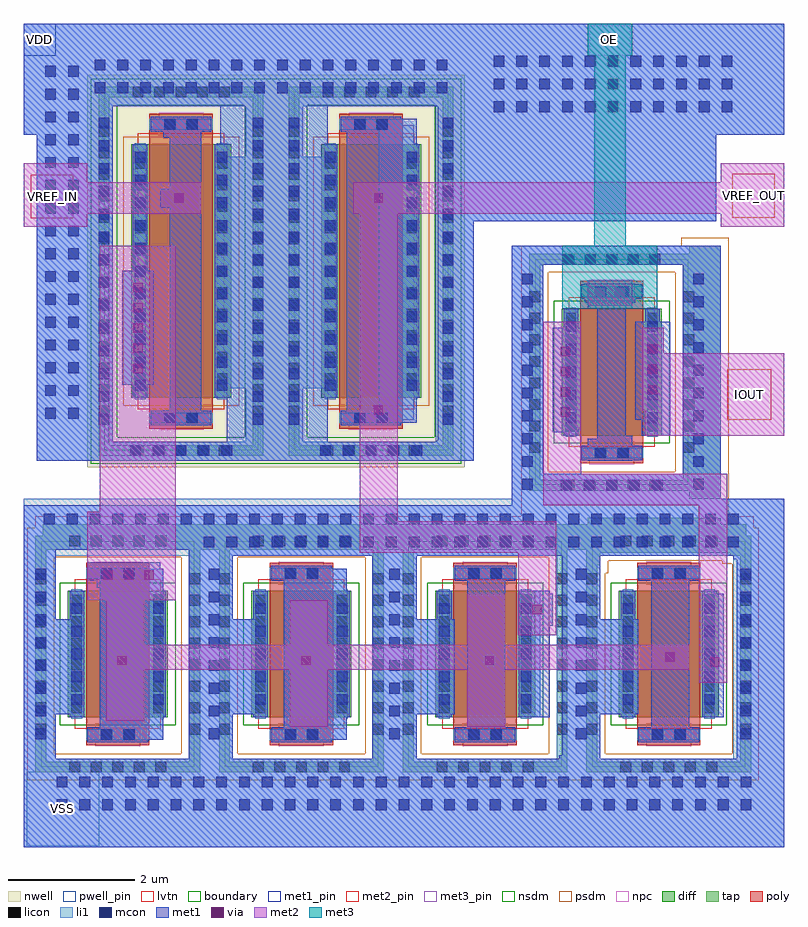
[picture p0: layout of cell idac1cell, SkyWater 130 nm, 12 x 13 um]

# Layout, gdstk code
import gdstk
lib = gdstk.Library(unit=1e-6, precision=1e-09)
def R(c, l, rs):  # rectangles x0, y0, x1, y1
    for r in rs: c.add(gdstk.rectangle(r[:2], r[2:], *l))
def A(c, l, x, y, w, h, nx, ny, dx, dy):  # array of equal rectangles
    R(c, l, [(x+i*dx, y+j*dy, x+i*dx+w, y+j*dy+h) for i in range(nx) for j in range(ny)])
nwell = (64, 20)
diff = (65, 20)
tap = (65, 44)
poly = (66, 20)
licon = (66, 44)
li1 = (67, 20)
mcon = (67, 44)
met1_pin = (68, 16)
met1 = (68, 20)
via = (68, 44)
met2_pin = (69, 16)
met2 = (69, 20)
met3_pin = (70, 16)
met3 = (70, 20)
nsdm = (93, 44)
psdm = (94, 20)
npc = (95, 20)
pwell_pin = (122, 16)
lvtn = (125, 44)
boundary = (235, 4)

sky130_fd_pr__nfet_01v8_ = lib.new_cell('sky130_fd_pr__nfet_01v8_lvt_QGMAL3')
R(sky130_fd_pr__nfet_01v8_, diff, [(-0.79,-1,0.79,1)])
R(sky130_fd_pr__nfet_01v8_, tap, [(-1.3,-1.87,1.3,-1.7), (-1.3,-1.7,-1.13,1.7), (1.13,-1.7,1.3,1.7), (-1.3,1.7,1.3,1.87)])
R(sky130_fd_pr__nfet_01v8_, poly, [(-0.5,-1.44,0.5,1.44)])
A(sky130_fd_pr__nfet_01v8_, licon, -0.765, -1.87, 0.17, 0.17, 5, 2, 0.34, 3.57)
A(sky130_fd_pr__nfet_01v8_, licon, -1.3, -1.275, 0.17, 0.17, 1, 8, 0, 0.34)
A(sky130_fd_pr__nfet_01v8_, licon, 1.13, -1.275, 0.17, 0.17, 1, 8, 0, 0.34)
A(sky130_fd_pr__nfet_01v8_, licon, -0.73, -0.935, 0.17, 0.17, 1, 6, 0, 0.34)
A(sky130_fd_pr__nfet_01v8_, licon, 0.56, -0.935, 0.17, 0.17, 1, 6, 0, 0.34)
R(sky130_fd_pr__nfet_01v8_, licon, [(-0.255,-1.36,-0.085,-1.19), (0.085,-1.36,0.255,-1.19), (-0.255,1.19,-0.085,1.36), (0.085,1.19,0.255,1.36)])
R(sky130_fd_pr__nfet_01v8_, li1, [(-1.3,-1.87,1.3,-1.7), (-1.3,-1.7,-1.13,1.7), (1.13,-1.7,1.3,1.7), (-0.5,-1.36,0.5,-1.19), (-0.73,-1.02,-0.56,1.02), (0.56,-1.02,0.73,1.02), (-0.5,1.19,0.5,1.36), (-1.3,1.7,1.3,1.87)])
A(sky130_fd_pr__nfet_01v8_, mcon, -0.73, -0.805, 0.17, 0.17, 1, 5, 0, 0.36)
A(sky130_fd_pr__nfet_01v8_, mcon, 0.56, -0.805, 0.17, 0.17, 1, 5, 0, 0.36)
R(sky130_fd_pr__nfet_01v8_, mcon, [(-0.265,-1.36,-0.095,-1.19), (0.095,-1.36,0.265,-1.19), (-0.265,1.19,-0.095,1.36), (0.095,1.19,0.265,1.36)])
R(sky130_fd_pr__nfet_01v8_, met1, [(-0.48,-1.39,0.48,-1.16), (-0.76,-1,-0.53,1), (0.53,-1,0.76,1), (-0.48,1.16,0.48,1.39)])
R(sky130_fd_pr__nfet_01v8_, nsdm, [(-0.915,-1.125,0.915,1.125)])
R(sky130_fd_pr__nfet_01v8_, psdm, [(-1.425,-1.995,1.425,-1.575), (-1.425,-1.575,-1.005,1.575), (1.005,-1.575,1.425,1.575), (-1.425,1.575,1.425,1.995)])
R(sky130_fd_pr__nfet_01v8_, npc, [(-0.355,-1.46,0.355,-1.09), (-0.355,1.09,0.355,1.46)])
R(sky130_fd_pr__nfet_01v8_, lvtn, [(-0.68,-1.18,0.68,1.18)])
R(sky130_fd_pr__nfet_01v8_, boundary, [(-1.21,-1.78,1.21,1.78)])

sky130_fd_pr__pfet_01v8_ = lib.new_cell('sky130_fd_pr__pfet_01v8_lvt_3VA8VM')
R(sky130_fd_pr__pfet_01v8_, nwell, [(-1.48,-3.095,1.48,3.095)])
R(sky130_fd_pr__pfet_01v8_, diff, [(-0.79,-2,0.79,2)])
R(sky130_fd_pr__pfet_01v8_, tap, [(-1.3,-2.915,1.3,-2.745), (-1.3,-2.745,-1.13,2.745), (1.13,-2.745,1.3,2.745), (-1.3,2.745,1.3,2.915)])
R(sky130_fd_pr__pfet_01v8_, poly, [(-0.5,-2.485,0.5,2.485)])
A(sky130_fd_pr__pfet_01v8_, licon, -0.765, -2.915, 0.17, 0.17, 5, 2, 0.34, 5.66)
A(sky130_fd_pr__pfet_01v8_, licon, -1.3, -2.295, 0.17, 0.17, 1, 14, 0, 0.34)
A(sky130_fd_pr__pfet_01v8_, licon, 1.13, -2.295, 0.17, 0.17, 1, 14, 0, 0.34)
A(sky130_fd_pr__pfet_01v8_, licon, -0.73, -1.785, 0.17, 0.17, 1, 11, 0, 0.34)
A(sky130_fd_pr__pfet_01v8_, licon, 0.56, -1.785, 0.17, 0.17, 1, 11, 0, 0.34)
R(sky130_fd_pr__pfet_01v8_, licon, [(-0.255,-2.405,-0.085,-2.235), (0.085,-2.405,0.255,-2.235), (-0.255,2.235,-0.085,2.405), (0.085,2.235,0.255,2.405)])
R(sky130_fd_pr__pfet_01v8_, li1, [(-1.3,-2.915,1.3,-2.745), (-1.3,-2.745,-1.13,2.745), (1.13,-2.745,1.3,2.745), (-0.5,-2.405,0.5,-2.235), (-0.73,-2.02,-0.56,2.02), (0.56,-2.02,0.73,2.02), (-0.5,2.235,0.5,2.405), (-1.3,2.745,1.3,2.915)])
A(sky130_fd_pr__pfet_01v8_, mcon, -0.73, -1.885, 0.17, 0.17, 1, 11, 0, 0.36)
A(sky130_fd_pr__pfet_01v8_, mcon, 0.56, -1.885, 0.17, 0.17, 1, 11, 0, 0.36)
R(sky130_fd_pr__pfet_01v8_, mcon, [(-0.265,-2.405,-0.095,-2.235), (0.095,-2.405,0.265,-2.235), (-0.265,2.235,-0.095,2.405), (0.095,2.235,0.265,2.405)])
R(sky130_fd_pr__pfet_01v8_, met1, [(-0.48,-2.435,0.48,-2.205), (-0.76,-2,-0.53,2), (0.53,-2,0.76,2), (-0.48,2.205,0.48,2.435)])
R(sky130_fd_pr__pfet_01v8_, nsdm, [(-1.425,-3.04,1.425,-2.62), (-1.425,-2.62,-1.005,2.62), (1.005,-2.62,1.425,2.62), (-1.425,2.62,1.425,3.04)])
R(sky130_fd_pr__pfet_01v8_, psdm, [(-0.915,-2.125,0.915,2.125)])
R(sky130_fd_pr__pfet_01v8_, npc, [(-0.355,-2.505,0.355,-2.135), (-0.355,2.135,0.355,2.505)])
R(sky130_fd_pr__pfet_01v8_, lvtn, [(-0.68,-2.18,0.68,2.18)])
R(sky130_fd_pr__pfet_01v8_, boundary, [(-1.215,-2.83,1.215,2.83)])

idac1cell = lib.new_cell('idac1cell')
R(idac1cell, nwell, [(1.8,7,2.15,13.15), (-1,13.15,4.95,13.2)])
R(idac1cell, tap, [(7,5.45,7.1,5.6), (6.9,5.6,7.1,5.65), (9.15,5.6,9.4,5.65), (6.9,5.65,9.4,5.7), (-1.7,5.7,9.4,6.1), (6.9,6.1,9,6.2), (8.5,6.5,9,10.5)])
R(idac1cell, li1, [(-2,1,10,2.4), (-2,2.4,-1.5,3.1), (0.6,2.4,1.3,3.1), (3.5,2.4,4.2,3.1), (6.45,2.4,7.1,2.45), (9.2,2.4,10,5.6), (6.5,2.45,7.1,3.1), (7.76,2.69,8.6,2.86), (-0.2,2.7,0.2,2.8), (2.1,2.7,3.1,3.11), (-0.8,2.8,0.2,3.11), (5.85,3.05,6.15,5.05), (-2,3.1,-1.1,4.6), (0.6,3.1,1.8,4.6), (3.5,3.1,4.8,4.6), (6.5,3.1,7.7,4.6), (-0.8,3.11,0.21,4.99), (2.1,3.11,3.11,4.99), (-2,4.6,-1.5,5.6), (0.6,4.6,1.3,5.6), (3.5,4.6,4.2,5.6), (6.5,4.6,7.1,5.6), (7.45,4.6,7.62,4.99), (-0.8,4.99,0.2,5.4), (2.1,4.99,3.1,5.4), (7.76,5.24,8.6,5.41), (-2,5.6,10,6.5), (5.7,6.5,9,6.9), (5.7,6.9,6.2,10.2), (8.4,6.9,9,10.2), (-1.8,7.1,5.1,7.4), (6.86,7.14,7.7,7.31), (-1.8,7.4,-0.6,12.25), (1.5,7.4,2.4,8.25), (4.5,7.4,5.1,10.88), (3.06,7.69,3.9,7.75), (3.06,7.75,4.15,7.86), (3.6,7.86,4.15,8.155), (1.04,8.155,1.21,8.25), (2.75,8.155,2.92,8.25), (3.6,8.155,4.21,12.035), (1.04,8.25,2.92,11.9), (6.86,9.69,7.7,9.86), (5.7,10.2,9,10.5), (4.5,10.88,8.93,12.25), (1.04,11.9,1.21,12.035), (1.5,11.9,2.4,12.7), (2.75,11.9,2.92,12.035), (3.6,12.035,4.15,12.33), (-2,12.25,-0.6,12.7), (4.5,12.25,10,12.7), (3.06,12.33,4.15,12.4), (3.06,12.4,3.9,12.5), (-2,12.7,10,14)])
A(idac1cell, mcon, -1.485, 1.585, 0.17, 0.17, 31, 2, 0.36, 0.36)
A(idac1cell, mcon, -1.82, 2.705, 0.17, 0.17, 1, 8, 0, 0.36)
A(idac1cell, mcon, 0.915, 2.705, 0.17, 0.17, 1, 8, 0, 0.36)
A(idac1cell, mcon, 3.765, 2.705, 0.17, 0.17, 1, 8, 0, 0.36)
A(idac1cell, mcon, 6.715, 2.705, 0.17, 0.17, 1, 8, 0, 0.36)
A(idac1cell, mcon, 9.31, 2.705, 0.17, 0.17, 1, 8, 0, 0.36)
A(idac1cell, mcon, 0.04, 3.245, 0.17, 0.17, 1, 5, 0, 0.36)
A(idac1cell, mcon, 2.94, 3.245, 0.17, 0.17, 1, 5, 0, 0.36)
A(idac1cell, mcon, 7.45, 3.245, 0.17, 0.17, 1, 5, 0, 0.36)
A(idac1cell, mcon, 0.835, 5.735, 0.17, 0.17, 24, 1, 0.36, 0)
A(idac1cell, mcon, -1.685, 6.095, 0.17, 0.17, 31, 1, 0.36, 0)
A(idac1cell, mcon, 6.475, 6.63, 0.17, 0.17, 5, 1, 0.36, 0)
A(idac1cell, mcon, 5.865, 6.645, 0.17, 0.17, 1, 10, 0, 0.36)
A(idac1cell, mcon, 8.565, 6.645, 0.17, 0.17, 1, 10, 0, 0.36)
A(idac1cell, mcon, -0.325, 7.18, 0.17, 0.17, 5, 1, 0.36, 0)
A(idac1cell, mcon, 2.675, 7.18, 0.17, 0.17, 5, 1, 0.36, 0)
A(idac1cell, mcon, -0.82, 7.67, 0.17, 0.17, 1, 14, 0, 0.36)
A(idac1cell, mcon, 1.61, 7.67, 0.17, 0.17, 1, 14, 0, 0.36)
A(idac1cell, mcon, 2.18, 7.67, 0.17, 0.17, 1, 14, 0, 0.36)
A(idac1cell, mcon, 4.61, 7.67, 0.17, 0.17, 1, 14, 0, 0.36)
A(idac1cell, mcon, -1.665, 7.765, 0.17, 0.17, 1, 16, 0, 0.36)
A(idac1cell, mcon, -1.305, 7.765, 0.17, 0.17, 1, 16, 0, 0.36)
A(idac1cell, mcon, 1.04, 8.21, 0.17, 0.17, 1, 11, 0, 0.36)
A(idac1cell, mcon, 2.75, 8.21, 0.17, 0.17, 1, 11, 0, 0.36)
A(idac1cell, mcon, 4.04, 8.21, 0.17, 0.17, 1, 11, 0, 0.36)
A(idac1cell, mcon, 5.415, 12.605, 0.17, 0.17, 11, 3, 0.36, 0.36)
A(idac1cell, mcon, -0.885, 12.905, 0.17, 0.17, 16, 2, 0.36, 0.36)
R(idac1cell, mcon, [(7.915,2.69,8.085,2.86), (8.275,2.69,8.445,2.86), (7.915,5.24,8.085,5.41), (8.275,5.24,8.445,5.41), (7.015,7.14,7.185,7.31), (7.375,7.14,7.545,7.31), (3.215,7.69,3.385,7.86), (3.575,7.69,3.745,7.86), (7.015,9.69,7.185,9.86), (7.375,9.69,7.545,9.86), (3.215,12.33,3.385,12.5), (3.575,12.33,3.745,12.5)])
R(idac1cell, met1_pin, [(-2,13.5,-1.5,14)])
R(idac1cell, met1, [(-2,1,10,2.4), (-2,2.4,-1.5,3.1), (0.6,2.4,1.3,3.1), (3.5,2.4,4.2,3.1), (6.45,2.4,7.1,2.45), (9.25,2.4,10,5.55), (6.5,2.45,7.1,3.1), (7.76,2.69,8.6,2.86), (-0.2,2.7,0.2,2.8), (2.1,2.7,3.1,3.11), (5,2.7,5.6,5.4), (-0.8,2.8,0.2,3.11), (7.9,2.86,8.5,5.24), (5.85,3.05,6.3,4.5), (8.75,3.05,9.05,5), (-2,3.1,-1.1,4.6), (0.6,3.1,1.8,4.6), (3.5,3.1,4.8,4.6), (6.5,3.1,7.7,4.6), (-0.8,3.11,0.21,4.99), (2.1,3.11,3.11,4.99), (5.85,4.5,6.35,5), (-2,4.6,-1.5,5.7), (0.6,4.6,1.3,5.6), (3.5,4.6,4.2,5.6), (6.5,4.6,7.1,5.6), (7.45,4.6,7.62,4.99), (-0.8,4.99,0.2,5.1), (2.1,4.99,3.1,5.4), (5.85,5,6.3,5.05), (-0.85,5.1,0.2,5.24), (-0.99,5.24,0.2,5.4), (7.76,5.24,8.6,5.41), (-0.99,5.4,0.15,5.5), (9.2,5.55,10,5.6), (0.6,5.6,10,5.7), (-2,5.7,10,6.4), (5.7,6.4,10,6.5), (5.7,6.5,9,6.9), (5.7,6.9,6.2,10.2), (8.4,6.9,9,10.2), (-1.8,7.1,5.1,7.4), (6.9,7.1,7.6,7.11), (6.8,7.11,7.76,7.34), (6.9,7.34,7.6,7.45), (-1.8,7.4,-0.6,12.25), (1.2,7.4,2.8,8.1), (4.5,7.4,5.1,7.42), (4.53,7.42,5.1,10.88), (7.05,7.45,7.6,7.5), (7.05,7.5,7.5,9.5), (7.75,7.5,8.2,7.75), (6.35,7.55,6.75,7.6), (6.35,7.6,6.8,9.2), (3,7.66,3.96,7.7), (0.2,7.7,0.7,7.8), (3,7.7,4.2,7.89), (7.65,7.75,8.2,9.3), (0.2,7.8,0.8,7.9), (3.1,7.89,4.2,8.155), (0.3,7.9,0.8,11.1), (1.1,8.1,2.8,8.155), (1.04,8.155,2.92,12.035), (3.1,8.155,4.21,12.035), (-0.45,8.3,0.05,10.1), (6.9,9.5,7.6,9.6), (6.85,9.6,7.65,9.66), (6.8,9.66,7.76,9.89), (6.85,9.89,7.65,9.9), (5.7,10.2,9,10.5), (4.53,10.88,8.93,12.25), (0.15,11.1,0.8,11.4), (0.3,11.4,0.8,12.2), (1.1,12.035,2.8,12.7), (3.1,12.035,4.2,12.33), (0.2,12.2,0.8,12.5), (-2,12.25,-0.6,12.7), (4.53,12.25,10,12.7), (3.06,12.33,4.2,12.5), (-2,12.7,10,14)])
A(idac1cell, via, -0.525, 3.875, 0.15, 0.15, 3, 1, 2.9, 0)
A(idac1cell, via, -0.745, 5.225, 0.15, 0.15, 3, 1, 0.32, 0)
A(idac1cell, via, 6.475, 7.795, 0.15, 0.15, 1, 4, 0, 0.32)
A(idac1cell, via, 7.85, 8.155, 0.15, 0.15, 1, 3, 0, 0.32)
A(idac1cell, via, -0.275, 8.485, 0.15, 0.15, 1, 5, 0, 0.32)
R(idac1cell, via, [(8.825,3.85,8.975,4), (8.125,3.925,8.275,4.075), (6.025,4.675,6.175,4.825), (3.525,7.825,3.675,7.975), (7.015,9.675,7.165,9.825), (7.335,9.675,7.485,9.825), (0.375,11.175,0.525,11.325), (3.525,11.175,3.675,11.325)])
R(idac1cell, met2_pin, [(9.1,7.75,9.8,8.55), (-1.89,10.93,-1.22,11.62), (9.18,10.94,9.85,11.63)])
R(idac1cell, met2, [(2.2,2.9,2.8,3.8), (5,2.9,5.6,3.8), (-0.7,3,-0.1,3.8), (8.65,3.6,9.1,6.4), (-0.7,3.8,8.5,4.2), (-0.7,4.2,-0.1,4.9), (2.2,4.2,2.8,4.9), (5,4.2,5.6,5), (5.8,4.35,6.4,5.65), (-1,4.9,0.4,6.3), (3.3,5.65,6.4,6.15), (3.3,6.15,3.9,11), (-0.8,6.3,0.4,10.5), (6.2,6.4,9.1,6.9), (6.2,6.9,6.8,9.3), (7.8,7.5,10,7.9), (7.75,7.9,10,8.8), (7.75,8.8,8.1,9.2), (6.9,9.55,7.6,9.95), (-2,10.8,-1,11), (9,10.8,10,11), (-2,11,0.8,11.5), (3.2,11,10,11.5), (-2,11.5,-1,11.8), (9,11.5,10,11.8)])
R(idac1cell, met3_pin, [(6.9,13.5,7.6,14)])
R(idac1cell, met3, [(6.5,9.5,8,10.5), (7,10.5,7.5,13.5), (6.9,13.5,7.6,14)])
R(idac1cell, nsdm, [(1.905,7.055,2.055,13.135)])
A(idac1cell, psdm, 0.905, 2.055, 0.05, 3.52, 3, 1, 2.9, 0)
R(idac1cell, psdm, [(6.875,5.325,7.225,5.475), (6.775,5.475,7.225,5.525), (9.025,5.475,9.525,5.525), (6.775,5.525,9.525,5.575), (-1.825,5.575,9.525,6.225), (5.855,6.225,9.125,6.505), (8.375,6.505,9.125,10.625)])
R(idac1cell, pwell_pin, [(-1.96,1.02,-0.81,2.19)])
idac1cell.add(gdstk.Reference(sky130_fd_pr__nfet_01v8_, (7.28,8.5)))
idac1cell.add(gdstk.Reference(sky130_fd_pr__nfet_01v8_, (8.18,4.05)))
idac1cell.add(gdstk.Reference(sky130_fd_pr__nfet_01v8_, (5.28,4.05)))
idac1cell.add(gdstk.Reference(sky130_fd_pr__nfet_01v8_, (2.38,4.05)))
idac1cell.add(gdstk.Reference(sky130_fd_pr__nfet_01v8_, (-0.52,4.05)))
idac1cell.add(gdstk.Reference(sky130_fd_pr__pfet_01v8_, (3.48,10.095)))
idac1cell.add(gdstk.Reference(sky130_fd_pr__pfet_01v8_, (0.48,10.095)))
idac1cell.add(gdstk.Label('VREF_IN', (-1.555,11.275), layer=69, texttype=5))
idac1cell.add(gdstk.Label('OE', (7.25,13.75), layer=70, texttype=5))
idac1cell.add(gdstk.Label('IOUT', (9.45,8.15), layer=69, texttype=5))
idac1cell.add(gdstk.Label('VDD', (-1.75,13.75), layer=68, texttype=5))
idac1cell.add(gdstk.Label('VSS', (-1.385,1.605), layer=64, texttype=59))
idac1cell.add(gdstk.Label('VREF_OUT', (9.515,11.285), layer=69, texttype=5))

lib.write_gds('idac1cell.gds')
